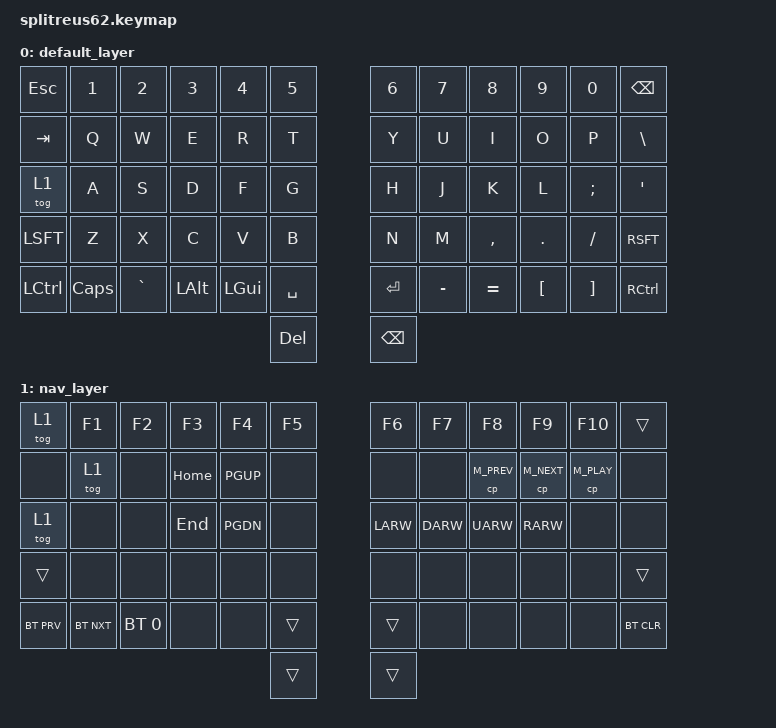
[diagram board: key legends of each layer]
/*
 * Copyright (c) 2020 Derek Schmell, Lucas Messenger
 *
 * SPDX-License-Identifier: MIT
 */

#include <behaviors.dtsi>
#include <dt-bindings/zmk/keys.h>
#include <dt-bindings/zmk/bt.h>

/ {
    keymap {
        compatible = "zmk,keymap";

        default_layer {
            bindings = <
&kp ESC  &kp NUM_1 &kp NUM_2 &kp NUM_3 &kp NUM_4 &kp NUM_5                   &kp NUM_6 &kp NUM_7 &kp NUM_8 &kp NUM_9 &kp NUM_0 &kp BKSP
&kp TAB  &kp Q     &kp W     &kp E     &kp R     &kp T                       &kp Y     &kp U     &kp I     &kp O     &kp P     &kp BSLH
&tog 1   &kp A     &kp S     &kp D     &kp F     &kp G                       &kp H     &kp J     &kp K     &kp L     &kp SCLN  &kp QUOT
&kp LSFT &kp Z     &kp X     &kp C     &kp V     &kp B                       &kp N     &kp M     &kp CMMA  &kp DOT   &kp FSLH  &kp RSFT
&kp LCTL &kp CLCK  &kp GRAV  &kp LALT  &kp LGUI  &kp SPC                     &kp RET   &kp MINUS &kp EQL   &kp LBKT  &kp RBKT  &kp RCTL
                                                 &kp DEL                     &kp BKSP
            >;
        };

        nav_layer {
            bindings = <
&tog 1   &kp F1    &kp F2    &kp F3    &kp F4    &kp F5                      &kp F6    &kp F7    &kp F8    &kp F9    &kp F10   &trans
&none    &tog 1    &none     &kp HOME  &kp PGUP  &none                       &none     &none     &cp M_PREV &cp M_NEXT &cp M_PLAY &none
&tog 1   &none     &none     &kp END   &kp PGDN  &none                       &kp LARW  &kp DARW  &kp UARW  &kp RARW  &none     &none
&trans   &none     &none     &none     &none     &none                       &none     &none     &none     &none     &none     &trans
&bt BT_PRV &bt BT_NXT &bt BT_SEL 0     &none     &none     &trans                      &trans    &none     &none     &none     &none     &bt BT_CLR
                                                 &trans                      &trans
            >;
        };
    };
};
